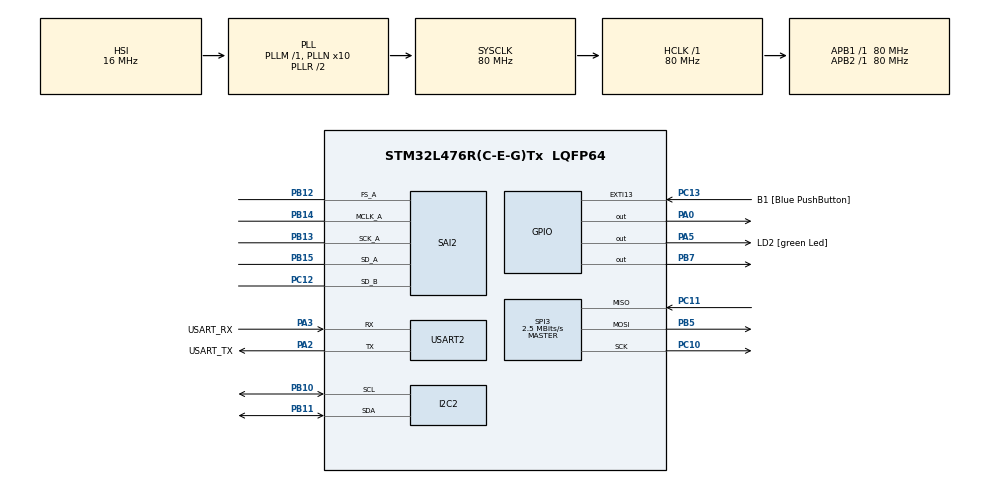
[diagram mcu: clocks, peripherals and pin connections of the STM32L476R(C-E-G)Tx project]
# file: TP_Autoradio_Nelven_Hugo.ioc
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Dma.Request0=SAI2_A
Dma.Request1=SAI2_B
Dma.SAI2_A.0.Direction=DMA_MEMORY_TO_PERIPH
Dma.SAI2_A.0.Instance=DMA1_Channel6
Dma.SAI2_A.0.MemDataAlignment=DMA_MDATAALIGN_WORD
Dma.SAI2_A.0.MemInc=DMA_MINC_ENABLE
Dma.SAI2_A.0.Mode=DMA_CIRCULAR
Dma.SAI2_A.0.PeriphDataAlignment=DMA_PDATAALIGN_WORD
Dma.SAI2_A.0.PeriphInc=DMA_PINC_DISABLE
Dma.SAI2_A.0.Priority=DMA_PRIORITY_LOW
Dma.SAI2_B.1.Direction=DMA_PERIPH_TO_MEMORY
Dma.SAI2_B.1.Instance=DMA1_Channel7
Dma.SAI2_B.1.MemDataAlignment=DMA_MDATAALIGN_WORD
Dma.SAI2_B.1.MemInc=DMA_MINC_ENABLE
Dma.SAI2_B.1.Mode=DMA_CIRCULAR
Dma.SAI2_B.1.PeriphDataAlignment=DMA_PDATAALIGN_WORD
Dma.SAI2_B.1.PeriphInc=DMA_PINC_DISABLE
Dma.SAI2_B.1.Priority=DMA_PRIORITY_LOW
FREERTOS.Tasks01=defaultTask,0,128,StartDefaultTask,Default,NULL,Dynamic,NULL,NULL
FREERTOS.configTOTAL_HEAP_SIZE=30000
FREERTOS.configUSE_NEWLIB_REENTRANT=1
I2C2.Timing=0x10D19CE4
Mcu.Family=STM32L4
Mcu.Name=STM32L476R(C-E-G)Tx
Mcu.Package=LQFP64
NVIC.DMA1_Channel6_IRQn=true\:5\:0\:false\:false\:true\:true\:false\:true\:true
NVIC.DMA1_Channel7_IRQn=true\:5\:0\:false\:false\:true\:true\:false\:true\:true
NVIC.PriorityGroup=NVIC_PRIORITYGROUP_4
NVIC.SAI2_IRQn=true\:5\:0\:false\:false\:true\:true\:true\:true\:true
NVIC.SPI3_IRQn=true\:5\:0\:false\:false\:true\:true\:true\:true\:true
NVIC.TIM6_DAC_IRQn=true\:15\:0\:false\:false\:true\:false\:false\:true\:true
NVIC.TimeBase=TIM6_DAC_IRQn
NVIC.TimeBaseIP=TIM6
NVIC.USART2_IRQn=true\:5\:0\:false\:false\:true\:true\:true\:true\:true
PA0.Signal=GPIO_Output
PA13\ (JTMS-SWDIO).GPIO_Label=TMS
PA13\ (JTMS-SWDIO).Mode=Serial_Wire
PA13\ (JTMS-SWDIO).Signal=SYS_JTMS-SWDIO
PA14\ (JTCK-SWCLK).GPIO_Label=TCK
PA14\ (JTCK-SWCLK).Mode=Serial_Wire
PA14\ (JTCK-SWCLK).Signal=SYS_JTCK-SWCLK
PA2.GPIO_Label=USART_TX
PA2.GPIO_Mode=GPIO_MODE_AF_PP
PA2.GPIO_PuPd=GPIO_NOPULL
PA2.GPIO_Speed=GPIO_SPEED_FREQ_VERY_HIGH
PA2.Mode=Asynchronous
PA2.Signal=USART2_TX
PA3.GPIO_Label=USART_RX
PA3.GPIO_Mode=GPIO_MODE_AF_PP
PA3.GPIO_PuPd=GPIO_NOPULL
PA3.GPIO_Speed=GPIO_SPEED_FREQ_VERY_HIGH
PA3.Mode=Asynchronous
PA3.Signal=USART2_RX
PA5.GPIO_Label=LD2 [green Led]
PA5.GPIO_ModeDefaultOutputPP=GPIO_MODE_OUTPUT_PP
PA5.GPIO_PuPd=GPIO_NOPULL
PA5.GPIO_Speed=GPIO_SPEED_FREQ_LOW
PA5.Signal=GPIO_Output
PB10.Mode=I2C
PB10.Signal=I2C2_SCL
PB11.Mode=I2C
PB11.Signal=I2C2_SDA
PB12.Mode=SAI_A_MasterWithClock
PB12.Signal=SAI2_FS_A
PB13.Mode=SAI_A_MasterWithClock
PB13.Signal=SAI2_SCK_A
PB14.Mode=SAI_A_MasterWithClock
PB14.Signal=SAI2_MCLK_A
PB15.Mode=SAI_A_MasterWithClock
PB15.Signal=SAI2_SD_A
PB3\ (JTDO-TRACESWO).GPIO_Label=SWO
PB3\ (JTDO-TRACESWO).Signal=SYS_JTDO-SWO
PB5.Mode=Full_Duplex_Master
PB5.Signal=SPI3_MOSI
PB7.Signal=GPIO_Output
PC10.Mode=Full_Duplex_Master
PC10.Signal=SPI3_SCK
PC11.Mode=Full_Duplex_Master
PC11.Signal=SPI3_MISO
PC12.Mode=SAI_B_SyncSlave
PC12.Signal=SAI2_SD_B
PC13.GPIO_Label=B1 [Blue PushButton]
PC13.GPIO_ModeDefaultEXTI=GPIO_MODE_IT_FALLING
PC13.GPIO_PuPd=GPIO_NOPULL
PC13.Signal=GPXTI13
PC14-OSC32_IN\ (PC14).Mode=LSE-External-Oscillator
PC14-OSC32_IN\ (PC14).Signal=RCC_OSC32_IN
PC15-OSC32_OUT\ (PC15).Mode=LSE-External-Oscillator
PC15-OSC32_OUT\ (PC15).Signal=RCC_OSC32_OUT
PH0-OSC_IN\ (PH0).Signal=RCC_OSC_IN
PH1-OSC_OUT\ (PH1).Signal=RCC_OSC_OUT
ProjectManager.HeapSize=0x200
ProjectManager.StackSize=0x400
ProjectManager.TargetToolchain=STM32CubeIDE
RCC.ADCFreq_Value=104000000
RCC.AHBFreq_Value=80000000
RCC.APB1Freq_Value=80000000
RCC.APB1TimFreq_Value=80000000
RCC.APB2Freq_Value=80000000
RCC.APB2TimFreq_Value=80000000
RCC.CortexFreq_Value=80000000
RCC.HCLKFreq_Value=80000000
RCC.HSE_VALUE=8000000
RCC.HSI_VALUE=16000000
RCC.MSI_VALUE=4000000
RCC.PLLN=10
RCC.PLLSAI1N=13
RCC.PLLSAI1P=RCC_PLLP_DIV17
RCC.PLLSourceVirtual=RCC_PLLSOURCE_HSI
RCC.PREFETCH_ENABLE=1
RCC.SYSCLKFreq_VALUE=80000000
RCC.SYSCLKSource=RCC_SYSCLKSOURCE_PLLCLK
RCC.USBFreq_Value=104000000
RCC.VCOOutputFreq_Value=160000000
SAI2.AudioFrequency-SAI_A_MasterWithClock=SAI_AUDIO_FREQUENCY_48K
SAI2.ErrorAudioFreq-SAI_A_MasterWithClock=-0.42 %
SAI2.InitProtocol-SAI_A_MasterWithClock=Enable
SAI2.InitProtocol-SAI_B_SyncSlave=Enable
SAI2.Instance-SAI_A_MasterWithClock=SAI$Index_Block_A
SAI2.Instance-SAI_B_SyncSlave=SAI$Index_Block_B
SAI2.MClockEnable-SAI_A_MasterWithClock=SAI_MASTERCLOCK_ENABLE
SAI2.RealAudioFreq-SAI_A_MasterWithClock=47.794 KHz
SAI2.VirtualMode-SAI_A_MasterWithClock=VM_MASTER
SAI2.VirtualMode-SAI_B_SyncSlave=VM_SLAVE
SAI2.VirtualProtocol-SAI_A_BASIC=VM_BASIC_PROTOCOL
SAI2.VirtualProtocol-SAI_B_BASIC=VM_BASIC_PROTOCOL
SPI3.BaudRatePrescaler=SPI_BAUDRATEPRESCALER_32
SPI3.CalculateBaudRate=2.5 MBits/s
SPI3.DataSize=SPI_DATASIZE_8BIT
SPI3.Direction=SPI_DIRECTION_2LINES
SPI3.Mode=SPI_MODE_MASTER
SPI3.VirtualType=VM_MASTER
USART2.VirtualMode-Asynchronous=VM_ASYNC
VP_FREERTOS_VS_CMSIS_V1.Mode=CMSIS_V1
VP_SAI2_VP_$IpInstance_SAIA_SAI_BASIC.Mode=SAI_A_BASIC
VP_SAI2_VP_$IpInstance_SAIB_SAI_BASIC.Mode=SAI_B_BASIC
VP_SYS_VS_tim6.Mode=TIM6
board=NUCLEO-L476RG

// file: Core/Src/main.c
/* USER CODE BEGIN Header */
/**
 ******************************************************************************
 * @file           : main.c
 * @brief          : Main program body
 ******************************************************************************
 * @attention
 *
 * Copyright (c) 2025 STMicroelectronics.
 * All rights reserved.
 *
 * This software is licensed under terms that can be found in the LICENSE file
 * in the root directory of this software component.
 * If no LICENSE file comes with this software, it is provided AS-IS.
 *
 ******************************************************************************
 */
/* USER CODE END Header */
#include "main.h"
#include "cmsis_os.h"
#include "dma.h"
#include "i2c.h"
#include "sai.h"
#include "spi.h"
#include "usart.h"
#include "gpio.h"

/* USER CODE BEGIN Includes */
#include <stdio.h>
#include <stdlib.h> // pour atoi function

#include "shell.h"
#include "chenille.h"
#include "sgtl5000.h"
#include "sgtl5000_signals.h"
/* USER CODE END Includes */

void SystemClock_Config(void);
void PeriphCommonClock_Config(void);
void MX_FREERTOS_Init(void);

/* USER CODE BEGIN 0 */
int __io_putchar(int chr)
{
	HAL_UART_Transmit(&huart2, (uint8_t*)&chr, 1, HAL_MAX_DELAY);
	return chr;
}

uint8_t drv_uart_receive(char * pData, uint16_t size)
{
	HAL_UART_Receive(&huart2, (uint8_t*)pData, size, HAL_MAX_DELAY);
	return 0;
}

uint8_t drv_uart_transmit(char * pData, uint16_t size)
{
	HAL_UART_Transmit(&huart2, (uint8_t*)pData, size, HAL_MAX_DELAY);
	return 0;
}

h_shell_t h_shell =
{
		.drv_shell = {
				.drv_shell_transmit = drv_uart_transmit,
				.drv_shell_receive = drv_uart_receive
		}
};

int fonction(h_shell_t * h_shell, int argc, char ** argv)
{
	printf("Je suis une fonction bidon\r\n");

	printf("argc = %d\r\n", argc);

	for (int i = 0 ; i < argc ; i++)
	{
		printf("argv[%d] = %s\r\n", i, argv[i]);
	}

	return 0;
}

int addition(h_shell_t * h_shell, int argc, char ** argv)
{
	if (argc != 3)
	{
		printf("Error: expected two arguments\r\n");
		return -1;
	}

	int a = atoi(argv[1]);
	int b = atoi(argv[2]);
	int c = a + b;

	printf("%d + %d = %d\r\n", a, b, c);

	return 0;
}

int led_control(h_shell_t *h_shell, int argc, char **argv)
{
	int numero;
	int size;
	numero = atoi(argv[1]);
	if (argc==3)
	{
		if ((numero > 8) && (numero < 17)){
			if (numero > 8)
			{
				Select_LED('B', 16-numero,atoi(argv[2]));
			}
			else if (numero < 8)
			{
				int state = atoi(argv[2]);
				Select_LED('A', numero,state);
			}
			else {
				size = snprintf(h_shell->print_buffer,BUFFER_SIZE,"[N>16] ! Il y a pas assez de led\r\n");
			}
			size = snprintf(h_shell->print_buffer,BUFFER_SIZE,"LED OK\r\n");
		}
		else{
			size = snprintf(h_shell->print_buffer,BUFFER_SIZE,"[N>16] ! Il y a pas assez de led\r\n");
		}
	}
	else if (argc==4)
	{
		numero = atoi(argv[1]) * 10 + atoi(argv[2]);
		if (numero < 17){
			Select_LED('B', 16-numero,atoi(argv[3]));
			size = snprintf(h_shell->print_buffer,BUFFER_SIZE,"LED OK\r\n");
		}
		else{
			size = snprintf(h_shell->print_buffer,BUFFER_SIZE,"[N>16] ! Il y a pas assez de led\r\n");
		}
	}
	else
	{
		size = snprintf(h_shell->print_buffer,BUFFER_SIZE,"Écrire : l <id[0:16]> <0|1>\r\n");
	}
	drv_uart_transmit(h_shell->print_buffer,size);
	return 0;
}

void task_shell(void * unused)
{
	shell_init(&h_shell);
	shell_add(&h_shell, 'f', fonction, "Une fonction inutile");
	shell_add(&h_shell, 'a', addition, "Ma super addition");
	shell_add(&h_shell, 'l', led_control, "LED control: l <id[0:16]> <0|1>");
	shell_run(&h_shell);

	// Une tâche ne doit *JAMAIS* retourner
	// Ici elle ne retourne pas parce qu'il y a une boucle infinie dans shell_run();
}

void HAL_UART_RxCpltCallback(UART_HandleTypeDef *huart)
{
	if (huart->Instance == USART2)	// LPUART1
	{
		// Caractère reçu : Donner le sémaphore pour débloquer task_shell
		shell_uart_rx_callback(&h_shell);
	}
}

void task_led(void * unused)
{
	for (;;)
	{
		HAL_GPIO_TogglePin(GPIOA, GPIO_PIN_5);
		vTaskDelay(250);
	}
}

void task_chenillard(void *unused)
{
	uint8_t led_state = 0x01;
	for (;;)
	{
		// Allume la LED correspondante sur MCP23S17 port A
		//	    	MCP23S17_WriteRegister(0x12, led_state);

		// Décale la LED à allumer
		led_state <<= 1;
		if (led_state == 0) {
			led_state = 0x01;  // Reset au début du chenillard
		}

		vTaskDelay(pdMS_TO_TICKS(200));  // délai 200 ms

	}
}

void task_i2c_update(void *unused)
{
    uint8_t id = 0;
    HAL_StatusTypeDef ret;
	for (;;)
	{
	    ret = HAL_I2C_Mem_Read(&hi2c2, (uint16_t)(CODEC_I2C_ADDR), (uint16_t)CODEC_REG_CHIP_ID, (uint16_t)I2C_MEMADD_SIZE_8BIT, &id, (uint16_t)sizeof(id), HAL_MAX_DELAY);

	    if (ret != HAL_OK){
	    	printf("error i2c read init\r\n");
	    	Error_Handler();
	    }

	    vTaskDelay(pdMS_TO_TICKS(100));
	}
}

void vApplicationStackOverflowHook(TaskHandle_t xTask, char *pcTaskName)
{
	Error_Handler();
}

//void configureTimerForRunTimeStats(void)
//{
//	// Démarrer un timer
//	HAL_TIM_Base_Start(&htim2);
//}
//
//unsigned long getRunTimeCounterValue(void)
//{
//	static unsigned long value = 0;
//	static unsigned long counter_prev = 0;
//
//	unsigned long counter = __HAL_TIM_GET_COUNTER(&htim2);
//
//	if (counter < counter_prev)
//	{
//		value += 65535;
//	}
//
//	counter_prev = counter;
//
//	// Renvoyer la valeur du timer
//	return value + counter;
//}
/* USER CODE END 0 */

int main(void)
{

  /* MCU Configuration--------------------------------------------------------*/

  /* Reset of all peripherals, Initializes the Flash interface and the Systick. */
  HAL_Init();

  /* Configure the system clock */
  SystemClock_Config();

  /* Configure the peripherals common clocks */
  PeriphCommonClock_Config();

  /* Initialize all configured peripherals */
  MX_GPIO_Init();
  MX_DMA_Init();
  MX_USART2_UART_Init();
  MX_SPI3_Init();
  MX_I2C2_Init();
  MX_SAI2_Init();
  /* USER CODE BEGIN 2 */
	MCP23S17_Init();
	MCP23S17_SetAllPinsLow();
	HAL_Delay(1000);
	MCP23S17_SetAllPinsHigh();

	__HAL_SAI_ENABLE(&hsai_BlockA2);

	if (CODEC_Init()!= HAL_OK){
		printf("error codec init\r\n");
		Error_Handler();
	}

	if (sgtl5000_init(&sgtl5000) != HAL_OK) {
	    Error_Handler();
	}

	// Démarre la transmission DMA
	if (sgtl5000_start(&sgtl5000) != HAL_OK) {
	    Error_Handler();
	}

//	sgtl5000_fill_triangle(&sgtl5000, 12000);

	printf("==== Autoradio Hugo Nelven Start ====\r\n");
	if (xTaskCreate(task_shell, "Shell", 512, NULL, 1, NULL) != pdPASS)
	{
		printf("Error creating task Shell\r\n");
		Error_Handler();
	}

	if (xTaskCreate(task_led, "LED", 128, NULL, 2, NULL) != pdPASS)
	{
		printf("Error creating task LED\r\n");
		Error_Handler();
	}

	if (xTaskCreate(task_chenillard, "Chenillard", 512, NULL, 3, NULL) != pdPASS)
	{
		printf("Error creating task Chenillard\r\n");
		Error_Handler();
	}

	if (xTaskCreate(task_i2c_update, "i2c update", 512, NULL, 4, NULL) != pdPASS)
	{
		printf("Error creating task i2c update\r\n");
		Error_Handler();
	}

	vTaskStartScheduler();
  /* USER CODE END 2 */

  /* Call init function for freertos objects (in cmsis_os2.c) */
  MX_FREERTOS_Init();

  /* Start scheduler */
  osKernelStart();

  /* We should never get here as control is now taken by the scheduler */

  /* Infinite loop */
	while (1)
	{

	}
}

void SystemClock_Config(void)
{
  RCC_OscInitTypeDef RCC_OscInitStruct = {0};
  RCC_ClkInitTypeDef RCC_ClkInitStruct = {0};

  /** Configure the main internal regulator output voltage
  */
  if (HAL_PWREx_ControlVoltageScaling(PWR_REGULATOR_VOLTAGE_SCALE1) != HAL_OK)
  {
    Error_Handler();
  }

  /** Initializes the RCC Oscillators according to the specified parameters
  * in the RCC_OscInitTypeDef structure.
  */
  RCC_OscInitStruct.OscillatorType = RCC_OSCILLATORTYPE_HSI;
  RCC_OscInitStruct.HSIState = RCC_HSI_ON;
  RCC_OscInitStruct.HSICalibrationValue = RCC_HSICALIBRATION_DEFAULT;
  RCC_OscInitStruct.PLL.PLLState = RCC_PLL_ON;
  RCC_OscInitStruct.PLL.PLLSource = RCC_PLLSOURCE_HSI;
  RCC_OscInitStruct.PLL.PLLM = 1;
  RCC_OscInitStruct.PLL.PLLN = 10;
  RCC_OscInitStruct.PLL.PLLP = RCC_PLLP_DIV7;
  RCC_OscInitStruct.PLL.PLLQ = RCC_PLLQ_DIV2;
  RCC_OscInitStruct.PLL.PLLR = RCC_PLLR_DIV2;
  if (HAL_RCC_OscConfig(&RCC_OscInitStruct) != HAL_OK)
  {
    Error_Handler();
  }

  /** Initializes the CPU, AHB and APB buses clocks
  */
  RCC_ClkInitStruct.ClockType = RCC_CLOCKTYPE_HCLK|RCC_CLOCKTYPE_SYSCLK
                              |RCC_CLOCKTYPE_PCLK1|RCC_CLOCKTYPE_PCLK2;
  RCC_ClkInitStruct.SYSCLKSource = RCC_SYSCLKSOURCE_PLLCLK;
  RCC_ClkInitStruct.AHBCLKDivider = RCC_SYSCLK_DIV1;
  RCC_ClkInitStruct.APB1CLKDivider = RCC_HCLK_DIV1;
  RCC_ClkInitStruct.APB2CLKDivider = RCC_HCLK_DIV1;

  if (HAL_RCC_ClockConfig(&RCC_ClkInitStruct, FLASH_LATENCY_4) != HAL_OK)
  {
    Error_Handler();
  }
}

void PeriphCommonClock_Config(void)
{
  RCC_PeriphCLKInitTypeDef PeriphClkInit = {0};

  /** Initializes the peripherals clock
  */
  PeriphClkInit.PeriphClockSelection = RCC_PERIPHCLK_SAI2;
  PeriphClkInit.Sai2ClockSelection = RCC_SAI2CLKSOURCE_PLLSAI1;
  PeriphClkInit.PLLSAI1.PLLSAI1Source = RCC_PLLSOURCE_HSI;
  PeriphClkInit.PLLSAI1.PLLSAI1M = 1;
  PeriphClkInit.PLLSAI1.PLLSAI1N = 13;
  PeriphClkInit.PLLSAI1.PLLSAI1P = RCC_PLLP_DIV17;
  PeriphClkInit.PLLSAI1.PLLSAI1Q = RCC_PLLQ_DIV2;
  PeriphClkInit.PLLSAI1.PLLSAI1R = RCC_PLLR_DIV2;
  PeriphClkInit.PLLSAI1.PLLSAI1ClockOut = RCC_PLLSAI1_SAI1CLK;
  if (HAL_RCCEx_PeriphCLKConfig(&PeriphClkInit) != HAL_OK)
  {
    Error_Handler();
  }
}

void HAL_TIM_PeriodElapsedCallback(TIM_HandleTypeDef *htim)
{
  if (htim->Instance == TIM6)
  {
    HAL_IncTick();
  }
}

void Error_Handler(void)
{
	__disable_irq();
	while (1)
	{
	}
}
